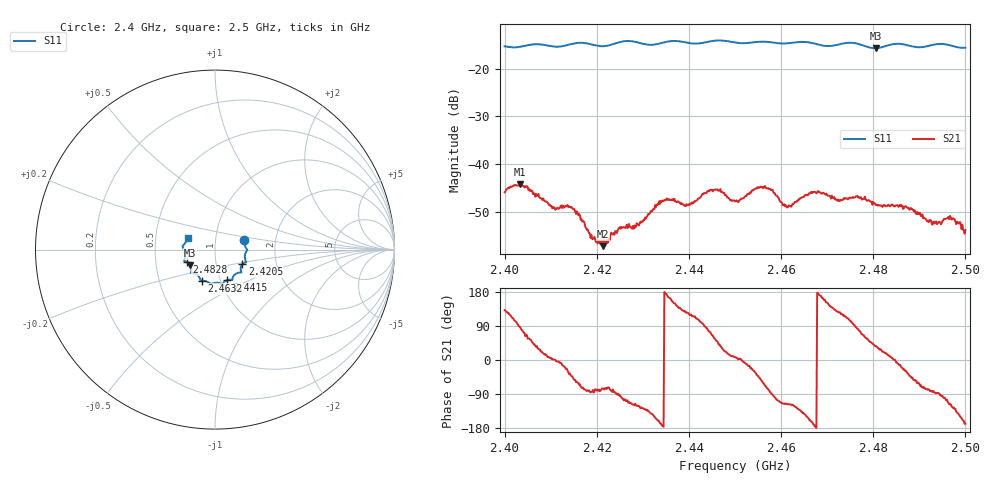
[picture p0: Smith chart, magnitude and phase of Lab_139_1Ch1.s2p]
# Hz S RI R 50
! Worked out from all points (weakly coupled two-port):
!   601 points, 2.4 GHz to 2.5 GHz, reference 50 ohm
!   highest |S21| = -44.20 dB at 2.4033 GHz (marker M1); lowest = -57.2 dB at 2.4213 GHz (marker M2)
!   lowest |S11| = -15.7 dB at 2.4805 GHz (marker M3), VSWR 1.39, Z = 37.3 - j6.7 ohm
!   |S11| at or under -10 dB: start of sweep to end of sweep
!   S12 and S22 are empty: the file has one direction only
!   S11 on the Smith chart (normalised r, x): 2.4 GHz: 1.38, +0.15; 2.4205 GHz: 1.34, -0.23; 2.4415 GHz: 1.07, -0.38; 2.4632 GHz: 0.82, -0.29; 2.4828 GHz: 0.72, -0.10; 2.5 GHz: 0.73, +0.10
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2.4e9  0.1635 0.0519  -0.00337 0.0038  0 0  0 0
2.403333e9  0.1686 0.0157  0.000289 0.00616  0 0  0 0
2.414667e9  0.1708 -0.0625  0.00252 -0.00237  0 0  0 0
2.416667e9  0.1731 -0.0699  0.00079 -0.00254  0 0  0 0
2.4205e9  0.1521 -0.0817  0.000334 -0.00156  0 0  0 0
2.421333e9  0.1472 -0.0886  0.000351 -0.00134  0 0  0 0
2.425167e9  0.1461 -0.1225  -0.000239 -0.0021  0 0  0 0
2.4295e9  0.1334 -0.1282  -0.00145 -0.00195  0 0  0 0
2.433333e9  0.1003 -0.1517  -0.00356 -0.00126  0 0  0 0
2.4415e9  0.0656 -0.1706  -0.00142 0.00388  0 0  0 0
2.445833e9  0.0415 -0.1923  0.00329 0.00427  0 0  0 0
2.45e9  0.0242 -0.1864  0.00404 0.000525  0 0  0 0
2.456e9  -0.0214 -0.1905  0.00292 -0.0048  0 0  0 0
2.460833e9  -0.0548 -0.1753  -0.0016 -0.00326  0 0  0 0
2.463167e9  -0.0732 -0.1738  -0.00226 -0.0033  0 0  0 0
2.466667e9  -0.0821 -0.167  -0.00476 -0.00144  0 0  0 0
2.4805e9  -0.1387 -0.0873  0.003 0.00223  0 0  0 0
2.482833e9  -0.1587 -0.07  0.00348 0.000995  0 0  0 0
2.483333e9  -0.1623 -0.068  0.00369 0.000745  0 0  0 0
2.493167e9  -0.1782 0.0107  0.000268 -0.0025  0 0  0 0
2.497167e9  -0.1704 0.0312  -0.0015 -0.0022  0 0  0 0
2.5e9  -0.1527 0.0645  -0.002 -0.000424  0 0  0 0
